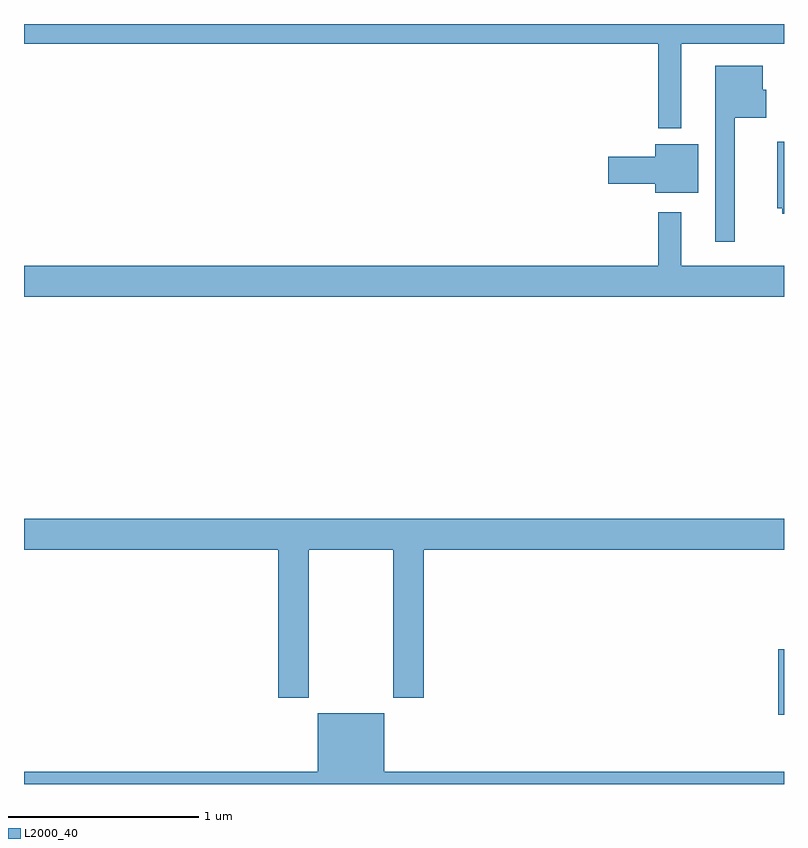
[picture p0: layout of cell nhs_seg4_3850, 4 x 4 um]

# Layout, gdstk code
import gdstk
lib = gdstk.Library(unit=1e-6, precision=1e-09)
def R(c, l, rs):  # rectangles x0, y0, x1, y1
    for r in rs: c.add(gdstk.rectangle(r[:2], r[2:], *l))
def P(c, l, *ps):  # polygons
    for p in ps: c.add(gdstk.Polygon(p, *l))
L2000_40 = (2000, 40)

nhs_seg4_3850 = lib.new_cell('nhs_seg4_3850')
R(nhs_seg4_3850, L2000_40, [(316.97,817.265,317,817.609)])
P(nhs_seg4_3850, L2000_40, [(316.459,820.796),(317,820.796),(317,820.9),(313,820.9),(313,820.796),(316.338,820.796),(316.338,820.352),(316.459,820.352)],
  [(316.741,820.406),(316.906,820.406),(316.906,820.554),(316.888,820.554),(316.888,820.681),(316.637,820.681),(316.637,819.753),(316.741,819.753)],
  [(317,820.279),(316.964,820.279),(316.964,819.93),(316.992,819.93),(316.992,819.902),(317,819.902)],
  [(316.549,820.267),(316.322,820.267),(316.322,820.202),(316.074,820.202),(316.074,820.06),(316.322,820.06),(316.322,820.013),(316.549,820.013)],
  [(317,819.628),(316.459,819.628),(316.459,819.91),(316.338,819.91),(316.338,819.628),(313,819.628),(313,819.464),(317,819.464)],
  [(314.499,818.132),(314.944,818.132),(314.944,817.353),(315.104,817.353),(315.104,818.132),(317,818.132),(317,818.296),(313,818.296),(313,818.132),(314.339,818.132),(314.339,817.353),(314.499,817.353)],
  [(317,816.964),(314.896,816.964),(314.896,817.273),(314.546,817.273),(314.546,816.964),(313,816.964),(313,816.9),(317,816.9)])

lib.write_gds('nhs_seg4_3850.gds')
